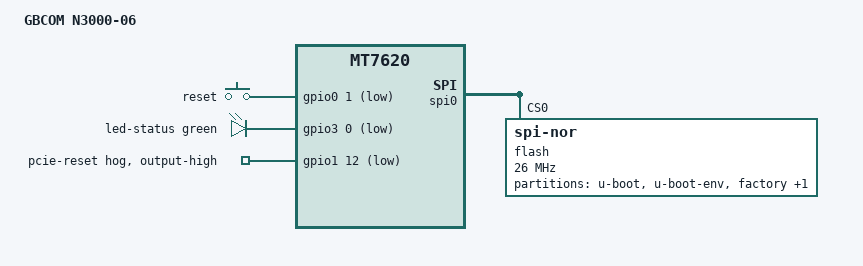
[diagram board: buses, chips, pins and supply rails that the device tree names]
// SPDX-License-Identifier: GPL-2.0-or-later

/dts-v1/;

#include "mt7620.dtsi"

#include <dt-bindings/gpio/gpio.h>
#include <dt-bindings/input/input.h>
#include <dt-bindings/leds/common.h>

/ {
	compatible = "gbcom,n3000-06", "mediatek,mt7620-soc";
	model = "GBCOM N3000-06";

	/delete-node/ clock-48m;
	/delete-node/ serial@10000500;
	/delete-node/ watchdog@10000120;
	/delete-node/ usb-phy;
	/delete-node/ ehci@101c0000;
	/delete-node/ mmc@10130000;

	aliases {
		serial0 = &uartlite;
		spi0 = &spi0;
	};

	chosen {
		stdout-path = "serial0:115200n8";
	};

	gpio-keys {
		compatible = "gpio-keys";

		button-reset {
			label = "reset";
			linux,code = <KEY_RESTART>;
			gpios = <&gpio0 1 GPIO_ACTIVE_LOW>;
		};
	};

	gpio-leds {
		compatible = "gpio-leds";

		led-status {
			color = <LED_COLOR_ID_GREEN>;
			function = LED_FUNCTION_STATUS;
			gpios = <&gpio3 0 GPIO_ACTIVE_LOW>;
			default-state = "on";
		};
	};

	options {
		u-boot {
			compatible = "u-boot,config";
			boot-btn1 = "reset";
			boot-led1 = "green:status";
			bootcmd_1-1 = "tftp_boot_ik";
			bootcmd_1-2 = "tftp_update_fw";
			bootcmd_1-3 = "switch_console";
			bootcmd_1-4 = "env init";
		};
	};
};

&gpio1 {
	pcie-reset {
		gpio-hog;
		gpios = <12 GPIO_ACTIVE_LOW>;
		output-high;
	};
};

&pinctrl {
	/delete-node/ nand_pins;
	/delete-node/ sd_pins;
	/delete-node/ spi_dual_pins;
	/delete-node/ uartf_pins;
	/delete-node/ uartf_pcm_pins;
	/delete-node/ uartf_i2s_pins;
	/delete-node/ uartf_gpio_pins;
};

&spi0 {
	flash@0 {
		compatible = "jedec,spi-nor";
		reg = <0>;
		spi-max-frequency = <26000000>;

		partitions {
			compatible = "fixed-partitions";
			#address-cells = <1>;
			#size-cells = <1>;

			partition@0 {
				label = "u-boot";
				reg = <0x00000 0x30000>;
			};

			partition@30000 {
				label = "u-boot-env";
				reg = <0x30000 0x10000>;
			};

			partition@40000 {
				label = "factory";
				reg = <0x40000 0x10000>;
			};

			partition@50000 {
				label = "firmware";
				reg = <0x50000 0x00000>;
			};
		};
	};
};

&state_default {
	gpios {
		groups = "i2c", "uartf", "mdio", "rgmii1", "rgmii2", "perst", \
			 "nand", "pa", "wdt rst", "wled", "ephy led";
		function = "gpio";
	};
};
